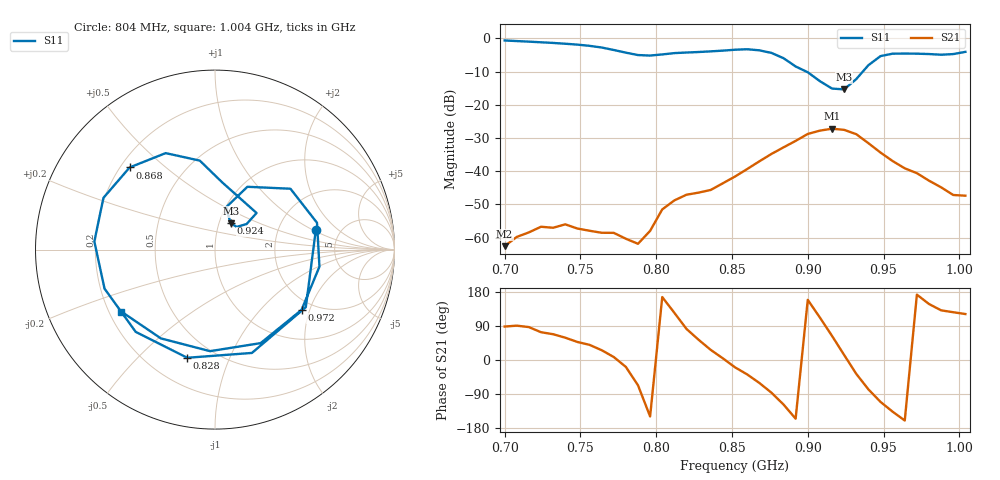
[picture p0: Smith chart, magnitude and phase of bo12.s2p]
# Hz S RI R 50
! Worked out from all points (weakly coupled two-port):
!   39 points, 700 MHz to 1.004 GHz, reference 50 ohm
!   highest |S21| = -27.19 dB at 916 MHz (marker M1); lowest = -62.5 dB at 700 MHz (marker M2)
!   lowest |S11| = -15.4 dB at 924 MHz (marker M3), VSWR 1.41, Z = 56.8 + j17.1 ohm
!   |S11| at or under -10 dB: 899 MHz to 936.3 MHz (37.31 MHz wide, 4.07 % of centre)
!   S12 and S22 are empty: the file has one direction only
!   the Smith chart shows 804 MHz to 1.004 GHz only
!   S11 on the Smith chart (normalised r, x): 804 MHz: 3.30, +1.07; 828 MHz: 0.36, -0.71; 868 MHz: 0.24, +0.38; 924 MHz: 1.14, +0.34; 972 MHz: 1.72, -1.76; 1.004 GHz: 0.25, -0.28
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7e8  0.7604 0.5331  2.26e-05 0.000746  0 0  0 0
7.24e8  0.8321 -0.26  0.000419 0.0014  0 0  0 0
7.4e8  0.4432 -0.7008  0.000822 0.00136  0 0  0 0
7.56e8  -0.1979 -0.7451  0.000975 0.000819  0 0  0 0
7.72e8  -0.6435 -0.1775  0.00117 0.000163  0 0  0 0
7.8e8  -0.5597 0.2392  0.000917 -0.000303  0 0  0 0
7.88e8  -0.1958 0.5247  0.000321 -0.000744  0 0  0 0
8.04e8  0.5617 0.1092  -0.00259 0.00064  0 0  0 0
8.2e8  0.2058 -0.5758  0.000621 0.00439  0 0  0 0
8.28e8  -0.1547 -0.6027  0.00285 0.00383  0 0  0 0
8.52e8  -0.6722 0.0452  0.00786 -0.00275  0 0  0 0
8.68e8  -0.4755 0.4578  0.00695 -0.0122  0 0  0 0
8.84e8  -0.0845 0.4956  -0.0105 -0.0203  0 0  0 0
9e8  0.2316 0.204  -0.0339 0.0132  0 0  0 0
9.08e8  0.1763 0.1426  -0.0153 0.0378  0 0  0 0
9.16e8  0.1216 0.1265  0.0194 0.0392  0 0  0 0
9.24e8  0.0871 0.1464  0.0409 0.00969  0 0  0 0
9.4e8  0.1804 0.35  0.00574 -0.0258  0 0  0 0
9.56e8  0.5684 0.1494  -0.0103 -0.00982  0 0  0 0
9.72e8  0.482 -0.3362  -0.00928 0.00122  0 0  0 0
9.88e8  -0.0278 -0.5659  -0.00376 0.00432  0 0  0 0
1.004e9  -0.5218 -0.3454  -0.00223 0.00367  0 0  0 0
